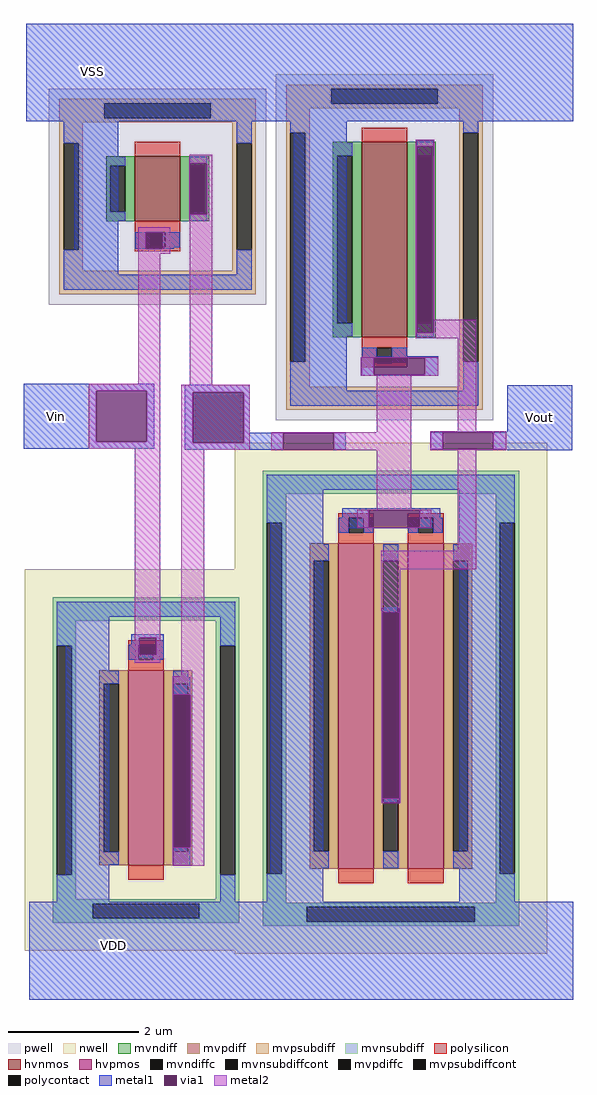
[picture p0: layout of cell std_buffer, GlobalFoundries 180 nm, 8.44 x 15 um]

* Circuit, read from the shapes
.subckt std_buffer VDD VSS Vin Vout
XM1 X0/Vin Vin VSS VSS nfet_06v0 w=1u l=0.7u
XM2 Vout X0/Vin VSS VSS nfet_06v0 w=3u l=0.7u
XM3 X0/Vin Vin VDD VDD pfet_06v0 w=3u l=0.55u
XM4 Vout X0/Vin VDD VDD pfet_06v0 w=5u l=0.55u m=2
.ends

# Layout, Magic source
magic
tech gf180mcuD
magscale 1 10
<< metal1 >>
rect 1101 2992 1587 3292
rect 1249 2492 1384 2992
rect 1604 2862 1656 2883
rect 1604 2685 1656 2706
rect 1436 2599 1469 2651
rect 1521 2599 1554 2651
rect 1094 2163 1494 2185
rect 1094 2007 1316 2163
rect 1472 2007 1494 2163
rect 1094 1985 1494 2007
rect 1607 2159 1775 2167
rect 1607 2003 1613 2159
rect 1769 2003 1775 2159
rect 1607 1995 1775 2003
rect 2580 1980 2780 2180
rect 1222 592 1356 1483
rect 1424 1404 1524 1414
rect 1424 1352 1448 1404
rect 1500 1352 1524 1404
rect 1424 1342 1524 1352
rect 1553 1228 1605 1283
rect 1553 705 1605 760
rect 1111 292 1596 592
<< via1 >>
rect 1604 2706 1656 2862
rect 1469 2599 1521 2651
rect 1316 2007 1472 2163
rect 1613 2003 1769 2159
rect 1448 1352 1500 1404
rect 1553 760 1605 1228
<< metal2 >>
rect 1604 2885 1673 2888
rect 1602 2862 1673 2885
rect 1602 2706 1604 2862
rect 1656 2706 1673 2862
rect 1602 2683 1673 2706
rect 1446 2651 1544 2665
rect 1446 2599 1469 2651
rect 1521 2599 1544 2651
rect 1446 2584 1544 2599
rect 1446 2185 1513 2584
rect 1294 2163 1513 2185
rect 1604 2182 1673 2683
rect 1294 2007 1316 2163
rect 1472 2007 1513 2163
rect 1294 1985 1513 2007
rect 1435 1404 1513 1985
rect 1435 1352 1448 1404
rect 1500 1352 1513 1404
rect 1435 1327 1513 1352
rect 1578 2159 1788 2182
rect 1578 2003 1613 2159
rect 1769 2003 1788 2159
rect 1578 1982 1788 2003
rect 1578 1285 1649 1982
rect 1551 1228 1649 1285
rect 1551 760 1553 1228
rect 1605 760 1649 1228
rect 1551 703 1649 760
use std_inverter  X0
transform 1 0 1322 0 1 1642
box 265 -1350 1460 1650
use pmos_6p0_GUW2N9  XM2
transform 1 0 1474 0 1 1028
box -378 -586 368 586
use nmos_6p0_BUMBUS  XM3
transform 1 0 1505 0 1 2760
box -334 -332 334 332
<< labels >>
flabel metal1 s 1268 357 1468 557 0 FreeSans 1600 0 0 0 VDD
port 1 nsew
flabel metal1 s 1206 3043 1406 3243 0 FreeSans 1600 0 0 0 VSS
port 2 nsew
flabel metal1 s 1094 1985 1294 2185 0 FreeSans 1600 0 0 0 Vin
port 3 nsew
flabel metal1 s 2580 1980 2780 2180 0 FreeSans 1600 0 0 0 Vout
port 4 nsew
<< properties >>
string GDS_END 24024
string GDS_FILE ../gds/simple_por.gds.gz
string GDS_START 20646
<< end >>

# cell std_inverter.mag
magic
tech gf180mcuD
magscale 1 10
<< metal1 >>
rect 265 1350 1460 1650
rect 266 392 466 540
rect 602 496 765 1350
rect 979 1272 1031 1290
rect 979 687 1031 700
rect 811 622 1045 627
rect 811 570 848 622
rect 1004 570 1045 622
rect 811 567 1045 570
rect 1258 393 1458 538
rect 266 340 569 392
rect 725 340 761 392
rect 1023 341 1059 393
rect 1215 341 1458 393
rect 1258 338 1458 341
rect 529 -1050 692 253
rect 750 154 1051 160
rect 750 102 832 154
rect 988 102 1051 154
rect 750 99 1051 102
rect 874 -159 926 -146
rect 874 -745 926 -731
rect 1110 -1050 1273 257
rect 265 -1350 1460 -1050
<< via1 >>
rect 979 700 1031 1272
rect 848 570 1004 622
rect 569 340 725 392
rect 1059 341 1215 393
rect 832 102 988 154
rect 874 -731 926 -159
<< metal2 >>
rect 977 1272 1033 1292
rect 977 700 979 1272
rect 1031 740 1033 1272
rect 1031 700 1162 740
rect 977 683 1162 700
rect 807 622 1045 624
rect 807 570 848 622
rect 1004 570 1045 622
rect 807 568 1045 570
rect 856 394 962 568
rect 1105 396 1162 683
rect 533 392 962 394
rect 533 340 569 392
rect 725 340 962 392
rect 533 338 962 340
rect 1021 393 1254 396
rect 1021 341 1059 393
rect 1215 341 1254 393
rect 1021 338 1254 341
rect 856 156 962 338
rect 796 154 1024 156
rect 796 102 832 154
rect 988 102 1024 154
rect 796 100 1024 102
rect 1105 29 1162 338
rect 871 -28 1162 29
rect 871 -156 928 -28
rect 872 -159 928 -156
rect 872 -731 874 -159
rect 926 -731 928 -159
rect 872 -747 928 -731
use pmos_6p0_MUW2NR  XM0
transform 1 0 900 0 1 -424
box -480 -786 480 786
use nmos_6p0_BUMBJU  XM1
transform 1 0 880 0 1 962
box -334 -532 334 532
<< labels >>
flabel metal1 s 758 -1302 958 -1102 0 FreeSans 1600 0 0 0 VDD
port 1 nsew
flabel metal1 s 780 1419 980 1619 0 FreeSans 1600 0 0 0 VSS
port 2 nsew
flabel metal1 s 266 340 466 540 0 FreeSans 1600 0 0 0 Vin
port 3 nsew
flabel metal1 s 1258 338 1458 538 0 FreeSans 1600 0 0 0 Vout
port 4 nsew
<< properties >>
string GDS_END 20604
string GDS_FILE ../gds/simple_por.gds.gz
string GDS_START 16960
<< end >>

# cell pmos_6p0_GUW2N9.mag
magic
tech gf180mcuD
magscale 1 10
<< nwell >>
rect -378 -586 368 586
<< hvpmos >>
rect -60 -324 50 276
<< mvpdiff >>
rect -148 234 -60 276
rect -148 -282 -135 234
rect -89 -282 -60 234
rect -148 -324 -60 -282
rect 50 234 138 276
rect 50 -282 79 234
rect 125 -282 138 234
rect 50 -324 138 -282
<< mvpdiffc >>
rect -135 -282 -89 234
rect 79 -282 125 234
<< mvnsubdiff >>
rect -292 428 282 500
rect -292 352 -220 428
rect -292 -352 -279 352
rect -233 -352 -220 352
rect 210 352 282 428
rect -292 -428 -220 -352
rect 210 -352 223 352
rect 269 -352 282 352
rect 210 -428 282 -352
rect -292 -441 282 -428
rect -292 -487 -169 -441
rect 159 -487 282 -441
rect -292 -500 282 -487
<< mvnsubdiffcont >>
rect -279 -352 -233 352
rect 223 -352 269 352
rect -169 -487 159 -441
<< polysilicon >>
rect -60 355 50 368
rect -60 309 -28 355
rect 18 309 50 355
rect -60 276 50 309
rect -60 -368 50 -324
<< polycontact >>
rect -28 309 18 355
<< metal1 >>
rect -279 441 269 487
rect -279 352 -233 441
rect -58 309 -28 355
rect 18 309 48 355
rect 223 352 269 441
rect -135 234 -89 274
rect -135 -322 -89 -282
rect 79 234 125 274
rect 79 -322 125 -282
rect -279 -441 -233 -352
rect 223 -441 269 -352
rect -279 -487 -169 -441
rect 159 -487 269 -441
<< properties >>
string FIXED_BBOX -246 -464 246 464
string GDS_END 6956
string GDS_FILE ../gds/simple_por.gds.gz
string GDS_START 3048
<< end >>

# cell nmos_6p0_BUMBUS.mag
magic
tech gf180mcuD
magscale 1 10
<< pwell >>
rect -334 -332 334 332
<< hvnmos >>
rect -70 -76 70 124
<< mvndiff >>
rect -158 94 -70 124
rect -158 -46 -145 94
rect -99 -46 -70 94
rect -158 -76 -70 -46
rect 70 94 158 124
rect 70 -46 99 94
rect 145 -46 158 94
rect 70 -76 158 -46
<< mvndiffc >>
rect -145 -46 -99 94
rect 99 -46 145 94
<< mvpsubdiff >>
rect -302 287 302 300
rect -302 241 -164 287
rect 164 241 302 287
rect -302 228 302 241
rect -302 164 -230 228
rect -302 -164 -289 164
rect -243 -164 -230 164
rect 230 164 302 228
rect -302 -228 -230 -164
rect 230 -164 243 164
rect 289 -164 302 164
rect 230 -228 302 -164
rect -302 -300 302 -228
<< mvpsubdiffcont >>
rect -164 241 164 287
rect -289 -164 -243 164
rect 243 -164 289 164
<< polysilicon >>
rect -70 124 70 168
rect -70 -109 70 -76
rect -70 -155 -23 -109
rect 23 -155 70 -109
rect -70 -168 70 -155
<< polycontact >>
rect -23 -155 23 -109
<< metal1 >>
rect -289 241 -164 287
rect 164 241 289 287
rect -289 164 -243 241
rect 243 164 289 241
rect -145 94 -99 122
rect -145 -74 -99 -46
rect 99 94 145 122
rect 99 -74 145 -46
rect -68 -155 -23 -109
rect 23 -155 68 -109
rect -289 -241 -243 -164
rect 243 -241 289 -164
rect -289 -287 289 -241
<< properties >>
string FIXED_BBOX -266 -264 266 264
string GDS_END 3000
string GDS_FILE ../gds/simple_por.gds.gz
string GDS_START 116
<< end >>

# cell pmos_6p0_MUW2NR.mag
magic
tech gf180mcuD
magscale 1 10
<< nwell >>
rect -480 -786 480 786
<< hvpmos >>
rect -162 -524 -52 476
rect 52 -524 162 476
<< mvpdiff >>
rect -250 422 -162 476
rect -250 -470 -237 422
rect -191 -470 -162 422
rect -250 -524 -162 -470
rect -52 422 52 476
rect -52 -470 -23 422
rect 23 -470 52 422
rect -52 -524 52 -470
rect 162 422 250 476
rect 162 -470 191 422
rect 237 -470 250 422
rect 162 -524 250 -470
<< mvpdiffc >>
rect -237 -470 -191 422
rect -23 -470 23 422
rect 191 -470 237 422
<< mvnsubdiff >>
rect -394 628 394 700
rect -394 540 -322 628
rect -394 -540 -381 540
rect -335 -540 -322 540
rect 322 540 394 628
rect -394 -628 -322 -540
rect 322 -540 335 540
rect 381 -540 394 540
rect 322 -628 394 -540
rect -394 -641 394 -628
rect -394 -687 -258 -641
rect 258 -687 394 -641
rect -394 -700 394 -687
<< mvnsubdiffcont >>
rect -381 -540 -335 540
rect 335 -540 381 540
rect -258 -687 258 -641
<< polysilicon >>
rect -162 555 -52 568
rect -162 509 -130 555
rect -84 509 -52 555
rect -162 476 -52 509
rect 52 555 162 568
rect 52 509 84 555
rect 130 509 162 555
rect 52 476 162 509
rect -162 -568 -52 -524
rect 52 -568 162 -524
<< polycontact >>
rect -130 509 -84 555
rect 84 509 130 555
<< metal1 >>
rect -381 641 381 687
rect -381 540 -335 641
rect -160 509 -130 555
rect -84 509 -54 555
rect 54 509 84 555
rect 130 509 160 555
rect 335 540 381 641
rect -237 422 -191 474
rect -237 -522 -191 -470
rect -23 422 23 474
rect -23 -522 23 -470
rect 191 422 237 474
rect 191 -522 237 -470
rect -381 -641 -335 -540
rect 335 -641 381 -540
rect -381 -687 -258 -641
rect 258 -687 381 -641
<< properties >>
string FIXED_BBOX -348 -664 348 664
string GDS_END 16916
string GDS_FILE ../gds/simple_por.gds.gz
string GDS_START 10960
<< end >>

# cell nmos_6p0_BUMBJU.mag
magic
tech gf180mcuD
magscale 1 10
<< pwell >>
rect -334 -532 334 532
<< hvnmos >>
rect -70 -276 70 324
<< mvndiff >>
rect -158 282 -70 324
rect -158 -234 -145 282
rect -99 -234 -70 282
rect -158 -276 -70 -234
rect 70 282 158 324
rect 70 -234 99 282
rect 145 -234 158 282
rect 70 -276 158 -234
<< mvndiffc >>
rect -145 -234 -99 282
rect 99 -234 145 282
<< mvpsubdiff >>
rect -302 487 302 500
rect -302 441 -164 487
rect 164 441 302 487
rect -302 428 302 441
rect -302 352 -230 428
rect -302 -352 -289 352
rect -243 -352 -230 352
rect 230 352 302 428
rect -302 -428 -230 -352
rect 230 -352 243 352
rect 289 -352 302 352
rect 230 -428 302 -352
rect -302 -500 302 -428
<< mvpsubdiffcont >>
rect -164 441 164 487
rect -289 -352 -243 352
rect 243 -352 289 352
<< polysilicon >>
rect -70 324 70 368
rect -70 -309 70 -276
rect -70 -355 -23 -309
rect 23 -355 70 -309
rect -70 -368 70 -355
<< polycontact >>
rect -23 -355 23 -309
<< metal1 >>
rect -289 441 -164 487
rect 164 441 289 487
rect -289 352 -243 441
rect 243 352 289 441
rect -145 282 -99 322
rect -145 -274 -99 -234
rect 99 282 145 322
rect 99 -274 145 -234
rect -289 -441 -243 -352
rect -68 -355 -23 -309
rect 23 -355 68 -309
rect 243 -441 289 -352
rect -289 -487 289 -441
<< properties >>
string FIXED_BBOX -266 -464 266 464
string GDS_END 10912
string GDS_FILE ../gds/simple_por.gds.gz
string GDS_START 7004
<< end >>
